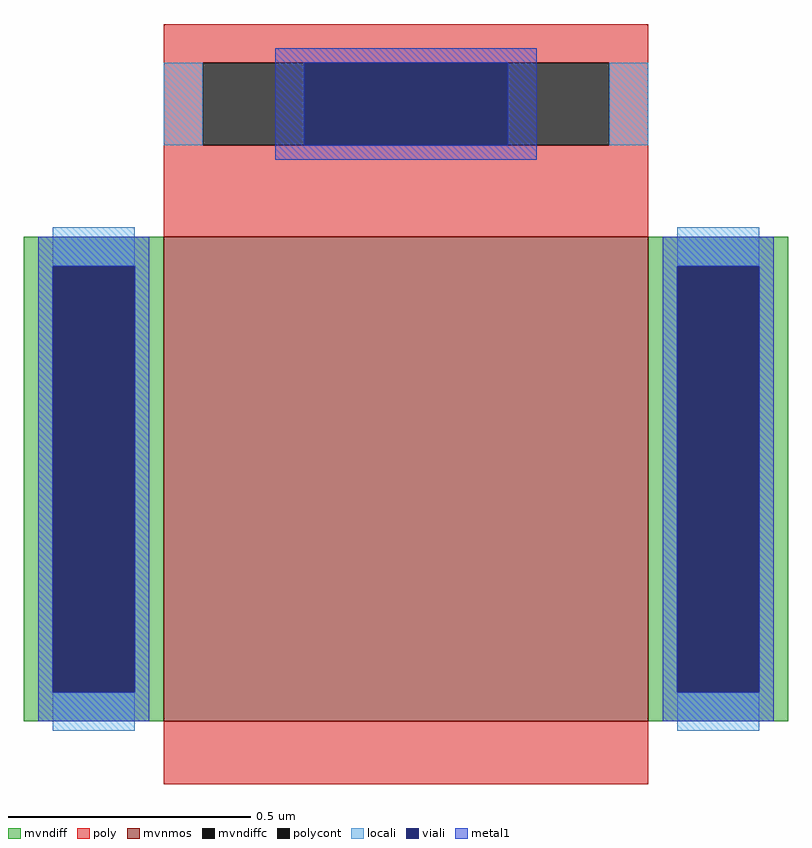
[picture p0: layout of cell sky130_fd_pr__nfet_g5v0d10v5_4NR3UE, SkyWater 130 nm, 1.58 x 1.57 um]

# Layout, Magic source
magic
tech sky130A
magscale 1 2
<< mvnmos >>
rect -100 -131 100 69
<< mvndiff >>
rect -158 57 -100 69
rect -158 -119 -146 57
rect -112 -119 -100 57
rect -158 -131 -100 -119
rect 100 57 158 69
rect 100 -119 112 57
rect 146 -119 158 57
rect 100 -131 158 -119
<< mvndiffc >>
rect -146 -119 -112 57
rect 112 -119 146 57
<< poly >>
rect -100 141 100 157
rect -100 107 -84 141
rect 84 107 100 141
rect -100 69 100 107
rect -100 -157 100 -131
<< polycont >>
rect -84 107 84 141
<< locali >>
rect -100 107 -84 141
rect 84 107 100 141
rect -146 57 -112 73
rect -146 -135 -112 -119
rect 112 57 146 73
rect 112 -135 146 -119
<< viali >>
rect -42 107 42 141
rect -146 -119 -112 57
rect 112 -119 146 57
<< metal1 >>
rect -54 141 54 147
rect -54 107 -42 141
rect 42 107 54 141
rect -54 101 54 107
rect -152 57 -106 69
rect -152 -119 -146 57
rect -112 -119 -106 57
rect -152 -131 -106 -119
rect 106 57 152 69
rect 106 -119 112 57
rect 146 -119 152 57
rect 106 -131 152 -119
<< properties >>
string gencell sky130_fd_pr__nfet_g5v0d10v5
string library sky130
string parameters w 1.0 l 1.0 m 1 nf 1 diffcov 100 polycov 100 guard 0 glc 1 grc 1 gtc 1 gbc 1 tbcov 100 rlcov 100 topc 1 botc 0 poverlap 0 doverlap 1 lmin 0.50 wmin 0.42 compatible {sky130_fd_pr__nfet_01v8 sky130_fd_pr__nfet_01v8_lvt  sky130_fd_bs_flash__special_sonosfet_star  sky130_fd_pr__nfet_g5v0d10v5 sky130_fd_pr__nfet_05v0_nvt  sky130_fd_pr__nfet_03v3_nvt} full_metal 1 viasrc 100 viadrn 100 viagate 50 viagb 0 viagr 0 viagl 0 viagt 0
<< end >>
